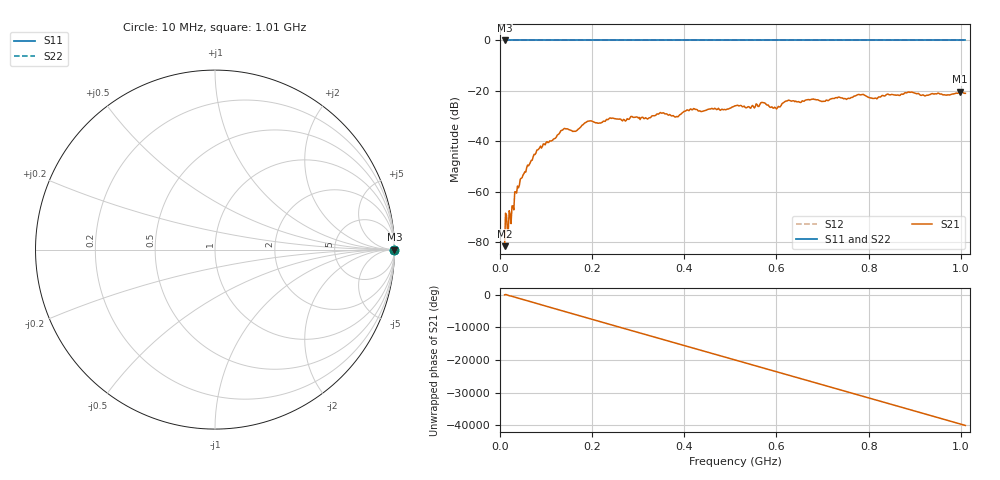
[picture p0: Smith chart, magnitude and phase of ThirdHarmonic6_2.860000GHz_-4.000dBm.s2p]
! 8/17/2025 7:47:00 AM
! C:\ANRITSUVNA\TEMP\TEMP.S2P
! CHANNEL.1
! TR.MEASUREMENT
! RAW.DATA
! RF.CORRECTION.OFF
! AVERAGING.OFF
! IF.BANDWIDTH: 5KHZ
! SWEEPTYPE:  FREQ.SWEEP(Linear)
! Reference Plane Port Info
! PORT:  PORT1  PORT2
! DISTANCE:  0  m  0  m
! TIME:  0  s  0  s
! PHASE.OFFSET:  0  deg.  0  deg.
! LOSS:  0  dB  0  dB
! REF.LOSS:  0  dB  0  dB
! REF.FREQ:  0  Hz  0  Hz
! Power Info
! POWER:  -20  dBm  -20  dBm
! EFF.POWER:  -20  dBm  -20  dBm
! SOURCE.ATTEN:  0  dB  0  dB
! TEST.ATTEN:  0  dB  0  dB
# GHZ S RI R 50.0
! FREQ.GHZ  S11RE  S11IM  S21RE  S21IM  S12RE  S12IM  S22RE  S22IM
!; PortSelection: Port_12
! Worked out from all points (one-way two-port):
!   501 points, 10 MHz to 1.01 GHz, reference 50 ohm
!   highest |S21| = -20.29 dB at 998 MHz (marker M1); lowest = -81.7 dB at 10 MHz (marker M2)
!   lowest |S11| = 0.0 dB at 10 MHz (marker M3)
!   |S11| at or under -10 dB: nowhere
!   |S22| runs from 0.0 to 0.0 dB; largest |S21 - S12| = 1.1
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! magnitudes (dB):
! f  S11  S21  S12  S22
! 10 MHz  0.0  -81.7  0.0  0.0
! 16 MHz  0.0  -75.0  0.0  0.0
! 20 MHz  0.0  -67.6  0.0  0.0
! 36 MHz  0.0  -60.6  0.0  0.0
! 42 MHz  0.0  -57.5  0.0  0.0
! 84 MHz  0.0  -43.1  0.0  0.0
! 136 MHz  0.0  -35.5  0.0  0.0
! 162 MHz  0.0  -36.1  0.0  0.0
! 178 MHz  0.0  -33.7  0.0  0.0
! 194 MHz  0.0  -32.0  0.0  0.0
! 322 MHz  0.0  -30.9  0.0  0.0
! 344 MHz  0.0  -29.2  0.0  0.0
! 382 MHz  0.0  -30.3  0.0  0.0
! 416 MHz  0.0  -27.5  0.0  0.0
! 510 MHz  0.0  -25.9  0.0  0.0
! 570 MHz  0.0  -24.6  0.0  0.0
! 598 MHz  0.0  -26.7  0.0  0.0
! 624 MHz  0.0  -23.9  0.0  0.0
! 678 MHz  0.0  -23.3  0.0  0.0
! 844 MHz  0.0  -21.5  0.0  0.0
! 998 MHz  0.0  -20.3  0.0  0.0
! 1.01 GHz  0.0  -21.0  0.0  0.0
